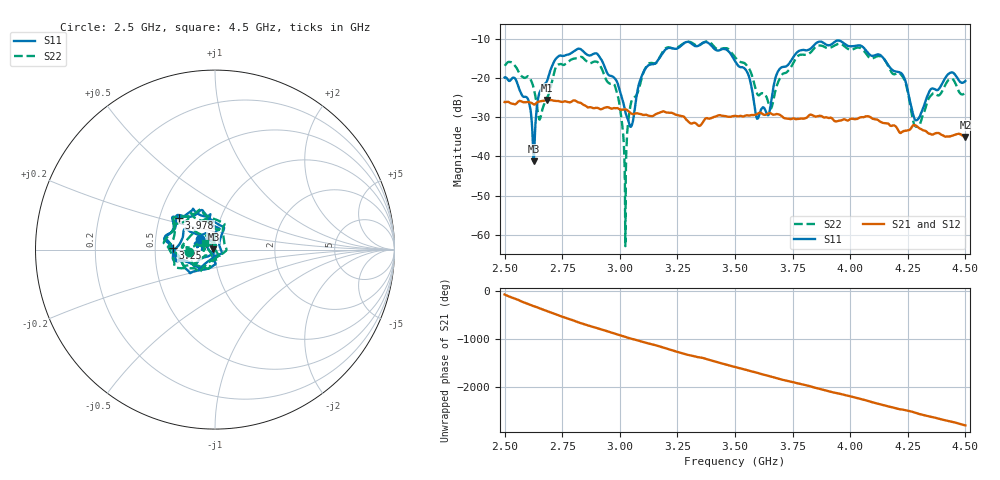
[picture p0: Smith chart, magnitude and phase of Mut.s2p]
!Keysight Technologies N9918A: A.08.19
!Date: Monday, 03 March 2025 16:52:27
!Timezone: (GMT-06:00) Guadalajara, Mexico City, Monterrey
!Model: N9918A
!Serial: MY53103234
!GPS Latitude:
!GPS Longitude:
!GPS TimeStamp: 0001-01-01 00:00:00Z
!GPS Seconds Since Last Read: 0
!CHECKSUM:0113633121
!Correction: S11(ON U)S21(ON U)S12(ON U)S22(ON U)
!S2P File: Measurements:S11,S21,S12,S22:
# Hz S DB R 50
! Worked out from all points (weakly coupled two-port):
!   1001 points, 2.5 GHz to 4.5 GHz, reference 50 ohm
!   highest |S21| = -25.61 dB at 2.684 GHz (marker M1); lowest = -35.1 dB at 4.5 GHz (marker M2)
!   lowest |S11| = -41.3 dB at 2.626 GHz (marker M3), VSWR 1.02, Z = 49.1 + j0.0702 ohm
!   |S11| at or under -10 dB: start of sweep to end of sweep
!   |S22| runs from -62.9 to -10.7 dB; largest |S21 - S12| = 0.0013
!   S11 on the Smith chart (normalised r, x): 2.5 GHz: 0.84, +0.10; 3.25 GHz: 0.62, +0.01; 3.978 GHz: 0.63, +0.24; 4.5 GHz: 0.86, +0.09
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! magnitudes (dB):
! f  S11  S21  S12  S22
! 2.5 GHz  -19.9  -26.2  -26.2  -16.9
! 2.6 GHz  -25.3  -26.2  -26.2  -19.6
! 2.626 GHz  -41.3  -26.8  -26.7  -22.6
! 2.652 GHz  -23.7  -26.0  -26.0  -30.7
! 2.684 GHz  -20.8  -25.6  -25.7  -25.1
! 2.834 GHz  -12.9  -26.5  -26.5  -14.7
! 2.98 GHz  -20.3  -27.7  -27.8  -22.2
! 3.022 GHz  -28.1  -28.0  -28.2  -46.7
! 3.052 GHz  -32.1  -29.1  -29.0  -25.7
! 3.096 GHz  -19.5  -29.3  -29.3  -19.8
! 3.168 GHz  -15.3  -29.0  -29.0  -15.3
! 3.25 GHz  -12.5  -29.5  -29.6  -12.3
! 3.5 GHz  -15.7  -29.7  -29.8  -14.7
! 3.6 GHz  -30.3  -29.1  -29.2  -24.4
! 3.656 GHz  -26.4  -29.1  -29.0  -27.8
! 3.692 GHz  -17.9  -29.3  -29.3  -20.5
! 3.834 GHz  -12.3  -29.4  -29.6  -13.2
! 3.978 GHz  -11.5  -30.6  -30.7  -12.1
! 4.168 GHz  -17.0  -31.8  -31.9  -17.4
! 4.288 GHz  -30.8  -32.3  -32.2  -32.4
! 4.43 GHz  -18.9  -34.9  -34.9  -20.4
! 4.5 GHz  -20.8  -35.1  -35.1  -23.7
